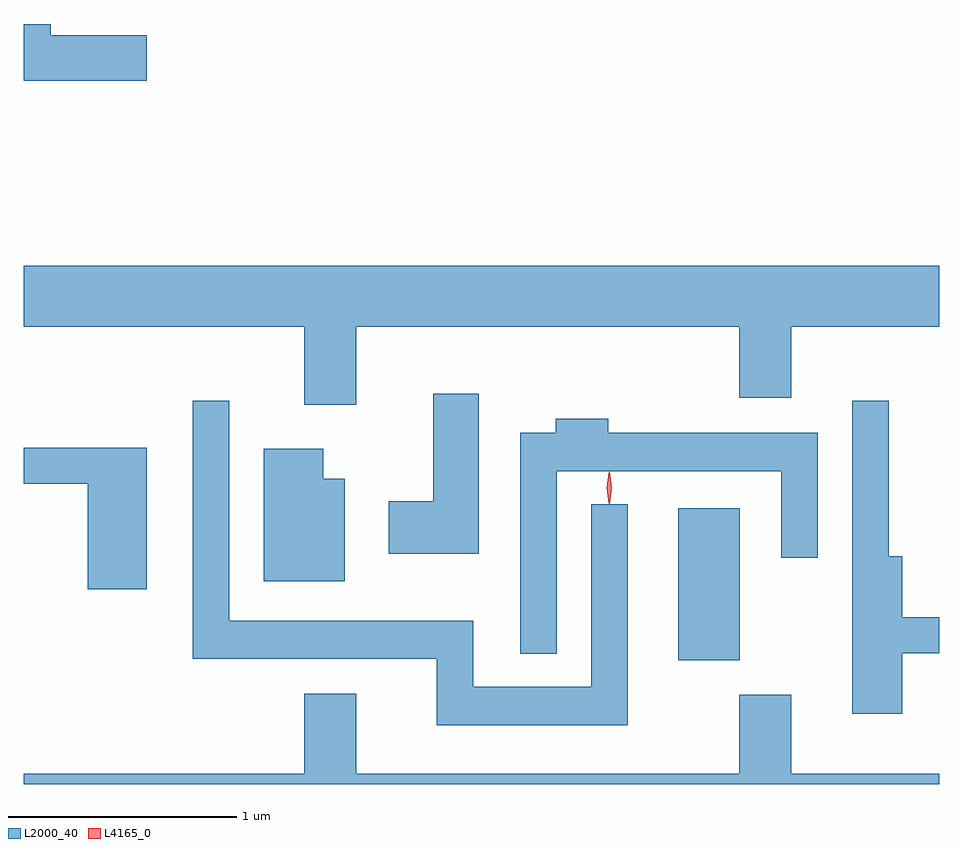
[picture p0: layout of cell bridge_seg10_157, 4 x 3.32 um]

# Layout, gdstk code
import gdstk
lib = gdstk.Library(unit=1e-6, precision=1e-09)
def R(c, l, rs):  # rectangles x0, y0, x1, y1
    for r in rs: c.add(gdstk.rectangle(r[:2], r[2:], *l))
def P(c, l, *ps):  # polygons
    for p in ps: c.add(gdstk.Polygon(p, *l))
L2000_40 = (2000, 40)
L4165_0 = (4165, 0)

bridge_seg10_157 = lib.new_cell('bridge_seg10_157')
R(bridge_seg10_157, L2000_40, [(1687.856,2088.041,1688.124,2088.704)])
P(bridge_seg10_157, L2000_40, [(1685.534,2090.769),(1685.114,2090.769),(1685.114,2090.819),(1684.996,2090.819),(1684.996,2090.571),(1685.534,2090.571)],
  [(1686.449,2089.496),(1688.121,2089.496),(1688.121,2089.186),(1688.349,2089.186),(1688.349,2089.496),(1688.996,2089.496),(1688.996,2089.764),(1684.996,2089.764),(1684.996,2089.496),(1686.221,2089.496),(1686.221,2089.156),(1686.449,2089.156)],
  [(1686.984,2089.204),(1686.786,2089.204),(1686.786,2088.734),(1686.591,2088.734),(1686.591,2088.506),(1686.984,2088.506)],
  [(1687.634,2088.722),(1687.476,2088.722),(1687.476,2087.924),(1686.959,2087.924),(1686.959,2088.214),(1685.894,2088.214),(1685.894,2089.173),(1685.736,2089.173),(1685.736,2088.046),(1686.801,2088.046),(1686.801,2087.756),(1687.634,2087.756)],
  [(1688.834,2088.071),(1688.996,2088.071),(1688.996,2088.229),(1688.834,2088.229),(1688.834,2088.494),(1688.774,2088.494),(1688.774,2089.173),(1688.616,2089.173),(1688.616,2087.806),(1688.834,2087.806)],
  [(1687.324,2088.866),(1688.306,2088.866),(1688.306,2088.488),(1688.464,2088.488),(1688.464,2089.034),(1687.549,2089.034),(1687.549,2089.094),(1687.321,2089.094),(1687.321,2089.034),(1687.166,2089.034),(1687.166,2088.068),(1687.324,2088.068)],
  [(1685.534,2088.969),(1684.996,2088.969),(1684.996,2088.811),(1685.276,2088.811),(1685.276,2088.351),(1685.534,2088.351)],
  [(1686.399,2088.834),(1686.304,2088.834),(1686.304,2088.964),(1686.046,2088.964),(1686.046,2088.386),(1686.399,2088.386)],
  [(1688.996,2087.544),(1688.349,2087.544),(1688.349,2087.889),(1688.121,2087.889),(1688.121,2087.544),(1686.449,2087.544),(1686.449,2087.894),(1686.221,2087.894),(1686.221,2087.544),(1684.996,2087.544),(1684.996,2087.5),(1688.996,2087.5)])
P(bridge_seg10_157, L4165_0, [(1687.555,2088.724),(1687.555,2088.724),(1687.545,2088.794),(1687.555,2088.863),(1687.555,2088.863),(1687.556,2088.863),(1687.565,2088.794),(1687.556,2088.724)],
  [(1687.552,2088.727),(1687.543,2088.794),(1687.552,2088.86),(1687.553,2088.861),(1687.553,2088.86),(1687.563,2088.794),(1687.553,2088.727),(1687.553,2088.727)])

lib.write_gds('bridge_seg10_157.gds')
